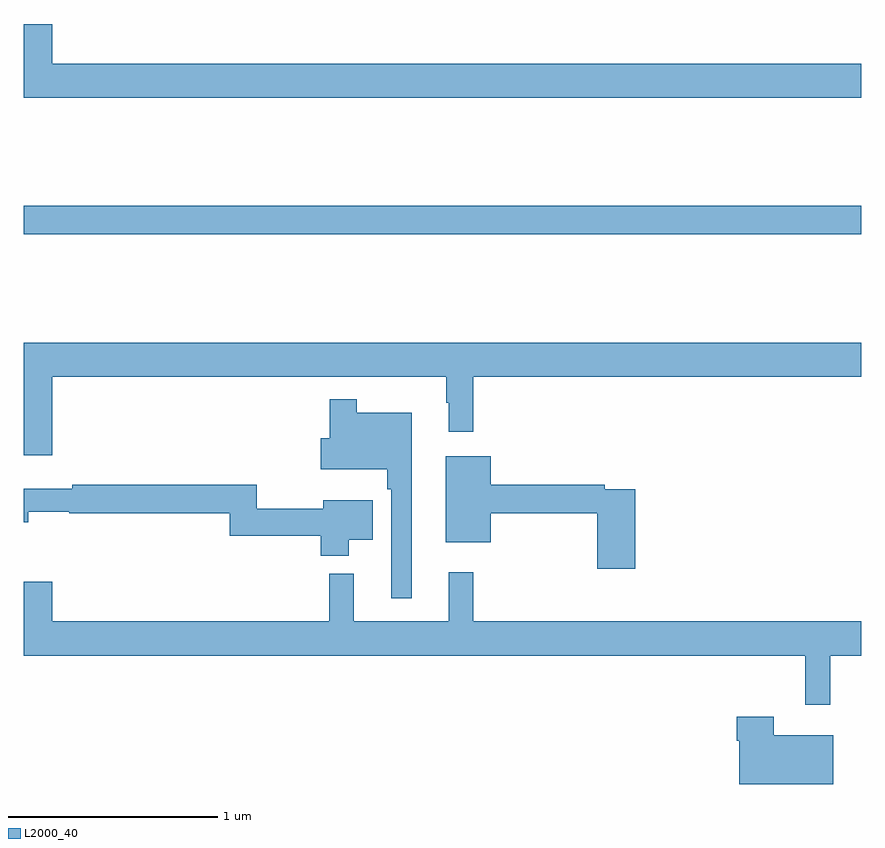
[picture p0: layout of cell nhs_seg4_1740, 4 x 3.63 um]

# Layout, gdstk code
import gdstk
lib = gdstk.Library(unit=1e-6, precision=1e-09)
def R(c, l, rs):  # rectangles x0, y0, x1, y1
    for r in rs: c.add(gdstk.rectangle(r[:2], r[2:], *l))
def P(c, l, *ps):  # polygons
    for p in ps: c.add(gdstk.Polygon(p, *l))
L2000_40 = (2000, 40)

nhs_seg4_1740 = lib.new_cell('nhs_seg4_1740')
R(nhs_seg4_1740, L2000_40, [(201,773.524,205,773.66)])
P(nhs_seg4_1740, L2000_40, [(205,774.34),(201.136,774.34),(201.136,774.529),(201,774.529),(201,774.176),(205,774.176)],
  [(201.136,772.844),(203.019,772.844),(203.019,772.721),(203.03,772.721),(203.03,772.581),(203.147,772.581),(203.147,772.844),(205,772.844),(205,773.008),(201,773.008),(201,772.47),(201.136,772.47)],
  [(202.852,772.672),(202.591,772.672),(202.591,772.738),(202.462,772.738),(202.462,772.551),(202.418,772.551),(202.418,772.403),(202.735,772.403),(202.735,772.307),(202.755,772.307),(202.755,771.786),(202.852,771.786)],
  [(203.921,772.308),(203.774,772.308),(203.774,772.328),(203.23,772.328),(203.23,772.465),(203.015,772.465),(203.015,772.055),(203.23,772.055),(203.23,772.192),(203.738,772.192),(203.738,771.927),(203.921,771.927)],
  [(202.552,772.067),(202.666,772.067),(202.666,772.255),(202.43,772.255),(202.43,772.214),(202.114,772.214),(202.114,772.328),(201.232,772.328),(201.232,772.309),(201,772.309),(201,772.15),(201.022,772.15),(201.022,772.2),(201.218,772.2),(201.218,772.192),(201.985,772.192),(201.985,772.086),(202.418,772.086),(202.418,771.989),(202.552,771.989)],
  [(204.851,771.512),(205,771.512),(205,771.676),(203.147,771.676),(203.147,771.91),(203.03,771.91),(203.03,771.676),(202.577,771.676),(202.577,771.904),(202.459,771.904),(202.459,771.676),(201.136,771.676),(201.136,771.865),(201,771.865),(201,771.512),(204.733,771.512),(204.733,771.279),(204.851,771.279)],
  [(204.865,771.133),(204.582,771.133),(204.582,771.22),(204.404,771.22),(204.404,771.107),(204.416,771.107),(204.416,770.9),(204.865,770.9)])

lib.write_gds('nhs_seg4_1740.gds')
